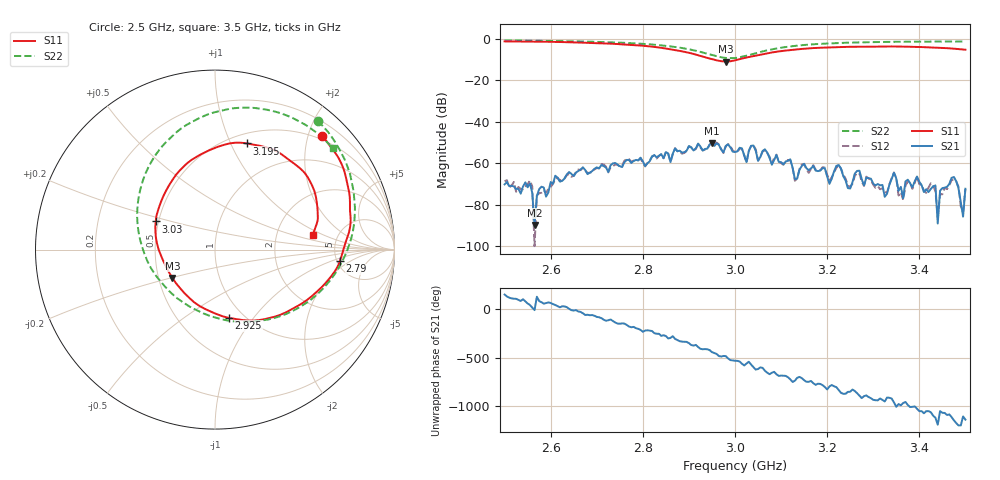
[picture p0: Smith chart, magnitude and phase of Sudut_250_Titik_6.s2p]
# Hz S RI R 50
! CMT, C1220, 16058040, 17.2.0/1
! Date: 15/08/2018 10:19:06
! Data: Format (Calibration Info)
! Freq  S11: Re/Im (F2)  S21: Re/Im (F2)  S12: Re/Im (F2)  S22: Re/Im (F2)
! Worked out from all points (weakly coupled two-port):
!   201 points, 2.5 GHz to 3.5 GHz, reference 50 ohm
!   highest |S21| = -50.13 dB at 2.95 GHz (marker M1); lowest = -89.7 dB at 2.565 GHz (marker M2)
!   lowest |S11| = -10.9 dB at 2.98 GHz (marker M3), VSWR 1.80, Z = 29.5 - j10.1 ohm
!   |S11| at or under -10 dB: 2.955 GHz to 3.006 GHz (51.06 MHz wide, 1.71 % of centre)
!   |S22| runs from -9.3 to -0.7 dB; largest |S21 - S12| = 0.0002
!   S11 on the Smith chart (normalised r, x): 2.5 GHz: 0.43, +2.24; 2.79 GHz: 5.27, -1.35; 2.925 GHz: 0.85, -0.77; 3.03 GHz: 0.48, +0.17; 3.195 GHz: 0.60, +1.15; 3.5 GHz: 3.25, +0.76
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2.5e9  0.5966 0.6351  -0.000252 0.000181  -0.000294 0.000224  0.573 0.7171
2.555e9  0.6551 0.5582  0.00026 0.000196  0.000299 0.000242  0.6348 0.6491
2.565e9  0.6674 0.5425  3.16e-05 -8.48e-06  5.17e-06 -8.61e-06  0.6457 0.6342
2.67e9  0.7481 0.3161  0.000536 -0.000592  0.000464 -0.000639  0.7447 0.4431
2.79e9  0.6952 -0.0656  -0.00106 0.000519  -0.00103 0.000556  0.7672 0.0978
2.835e9  0.5783 -0.2246  -0.000344 0.00149  -0.000405 0.00144  0.7036 -0.0749
2.925e9  0.0779 -0.3813  0.00162 -0.00195  0.0016 -0.00177  0.2917 -0.3904
2.95e9  -0.0853 -0.3147  0.000288 -0.0031  0.000375 -0.00308  0.0964 -0.3994
2.98e9  -0.2376 -0.1576  -0.00151 -0.00216  -0.00143 -0.00214  -0.1402 -0.3182
3e9  -0.3023 -0.0298  -0.00187 -0.000233  -0.00185 -0.000165  -0.2769 -0.2077
3.03e9  -0.3303 0.1567  -0.00199 0.000103  -0.00199 8.42e-05  -0.4059 0.0147
3.12e9  -0.0749 0.5325  0.00124 -6.14e-05  0.00118 -9.38e-05  -0.2708 0.6009
3.13e9  -0.0375 0.5508  0.000397 -0.000117  0.000368 -9.47e-05  -0.2317 0.638
3.17e9  0.098 0.5939  0.000634 -0.000578  0.000735 -0.000524  -0.0742 0.7387
3.195e9  0.1768 0.5916  0.000115 -0.000745  6.54e-05 -0.000785  0.0177 0.7698
3.335e9  0.4938 0.4338  -0.000298 5.9e-05  -0.00029 0.000113  0.4082 0.7439
3.365e9  0.5294 0.3797  -6.17e-05 0.00013  -3.85e-05 0.000125  0.4662 0.7155
3.395e9  0.5555 0.3206  0.000261 0.000403  0.000277 0.00039  0.5166 0.6868
3.44e9  0.5718 0.2155  -9.97e-06 -3.39e-05  3.59e-05 -3.44e-05  0.585 0.6353
3.47e9  0.5686 0.1495  0.000392 -0.000213  0.00035 -0.000181  0.6215 0.6017
3.49e9  0.5528 0.1042  -4.72e-05 -0.000105  -7.79e-05 -4.9e-05  0.6452 0.5762
3.5e9  0.5435 0.0812  0.000141 -0.000199  0.000133 -0.000199  0.656 0.5647
